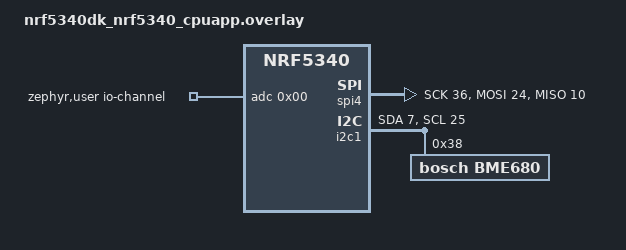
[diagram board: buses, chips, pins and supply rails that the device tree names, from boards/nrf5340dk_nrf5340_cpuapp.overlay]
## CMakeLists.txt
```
cmake_minimum_required(VERSION 3.13.1)

set(CONF_FILE prj.conf)

find_package(Zephyr REQUIRED HINTS $ENV{ZEPHYR_BASE})
project(hito_firmware_zephyr)

# Directory variables
set(RUST_FIRMWARE_DIR ${CMAKE_CURRENT_SOURCE_DIR}/rust-firmware)
set(RUST_SOURCE_DIR ${RUST_FIRMWARE_DIR}/src)
set(ZEPHYR_DRIVERS_DIR ${RUST_SOURCE_DIR}/drivers/zephyr/zephyr_drivers)

# Build configuration variables
set(RUST_TARGET thumbv7em-none-eabi)
set(RUST_BUILD_TYPE release)
set(RUST_TARGET_DIR ${RUST_FIRMWARE_DIR}/target/${RUST_TARGET}/${RUST_BUILD_TYPE})
set(RUST_LIB_NAME libhito_firmware_rust.a)
set(RUST_LIB_PATH ${RUST_TARGET_DIR}/${RUST_LIB_NAME})

# Build features and flags
set(RUST_FEATURES zephyr)
set(RUST_BUILD_FLAGS --target ${RUST_TARGET} --${RUST_BUILD_TYPE} --no-default-features --features ${RUST_FEATURES})

# Glob all Rust source files to track dependencies
file(GLOB_RECURSE RUST_SOURCES 
    "${RUST_SOURCE_DIR}/*.rs"
    "${RUST_SOURCE_DIR}/vault/*.rs"
    "${RUST_SOURCE_DIR}/vault/vault.c"
    "${RUST_SOURCE_DIR}/vault/hito_firmware_version.h"
    "${RUST_FIRMWARE_DIR}/build.rs"
    "${RUST_FIRMWARE_DIR}/Cargo.toml"
    "${RUST_SOURCE_DIR}/ui/*.slint"
)

# Custom command to build Rust library when source files change
add_custom_command(
    OUTPUT ${RUST_LIB_PATH}
    COMMAND cargo build ${RUST_BUILD_FLAGS}
    WORKING_DIRECTORY ${RUST_FIRMWARE_DIR}
    DEPENDS ${RUST_SOURCES}
    COMMENT "Building Rust library for ${RUST_TARGET}"
    VERBATIM
)

# Custom target to ensure Rust library is built
add_custom_target(build_rust_lib DEPENDS ${RUST_LIB_PATH})

# Import the built Rust static library
add_library(hito_firmware_rust STATIC IMPORTED)
set_target_properties(hito_firmware_rust PROPERTIES 
    IMPORTED_LOCATION ${RUST_LIB_PATH})

# Make sure the Rust library is built before the imported library is used
add_dependencies(hito_firmware_rust build_rust_lib)

# C driver source files
set(DRIVER_SOURCES
  ${ZEPHYR_DRIVERS_DIR}/ili9342_lcd.c
  ${ZEPHYR_DRIVERS_DIR}/ft6336_ctp.c
  ${ZEPHYR_DRIVERS_DIR}/hito_pin_config.c
  ${ZEPHYR_DRIVERS_DIR}/timer.c
  ${ZEPHYR_DRIVERS_DIR}/hito_battery.c
  ${ZEPHYR_DRIVERS_DIR}/hito_nfc.c
  ${ZEPHYR_DRIVERS_DIR}/hito_ble.c
  ${ZEPHYR_DRIVERS_DIR}/hito_power.c
)

# Main application sources
set(SOURCE_FILES
  src/main.c
  ${DRIVER_SOURCES}
)

# Add libcrypt0 and related C sources
set(LIBCRYPT0_DIR ${RUST_SOURCE_DIR}/crypto/libcrypt0)
set(LIBCRYPT0_SOURCES
  ${LIBCRYPT0_DIR}/src/crypt0.c
  ${LIBCRYPT0_DIR}/src/crypt0_aes_ccm.c
  ${LIBCRYPT0_DIR}/src/crypt0_bech32.c
  ${LIBCRYPT0_DIR}/src/crypt0_bip32.c
  ${LIBCRYPT0_DIR}/src/crypt0_bip39.c
  ${LIBCRYPT0_DIR}/src/crypt0_crc.c
  ${LIBCRYPT0_DIR}/src/crypt0_ed25519.c
  ${LIBCRYPT0_DIR}/src/crypt0_hmac.c
  ${LIBCRYPT0_DIR}/src/crypt0_hw_keys.c
  ${LIBCRYPT0_DIR}/src/crypt0_key.c
  ${LIBCRYPT0_DIR}/src/crypt0_log.c
  ${LIBCRYPT0_DIR}/src/crypt0_pbkdf2.c
  ${LIBCRYPT0_DIR}/src/crypt0_ripemd160.c
  ${LIBCRYPT0_DIR}/src/crypt0_rlp.c
  ${LIBCRYPT0_DIR}/src/crypt0_rng.c
  ${LIBCRYPT0_DIR}/src/hito_rand.c
  ${LIBCRYPT0_DIR}/lib/SHA3IUF/sha3.c
  ${LIBCRYPT0_DIR}/src/crypt0_secp256k1.c
  ${LIBCRYPT0_DIR}/src/crypt0_sha.c
  ${LIBCRYPT0_DIR}/src/intc_impl.c
  ${RUST_SOURCE_DIR}/crypto/crc16_ccitt/crc16_ccitt.c
  ${RUST_SOURCE_DIR}/vault/vault.c
)

# Include directories for the C drivers and crypto libs
target_include_directories(app PRIVATE 
  ${ZEPHYR_DRIVERS_DIR}
  ${LIBCRYPT0_DIR}/include
  ${LIBCRYPT0_DIR}/lib/secp256k1/src
  ${LIBCRYPT0_DIR}/lib/secp256k1/include
  ${LIBCRYPT0_DIR}/lib/ripemd160
  ${LIBCRYPT0_DIR}/lib/SHA3IUF
  ${LIBCRYPT0_DIR}/lib/base58
  ${LIBCRYPT0_DIR}/lib/bech32
  ${LIBCRYPT0_DIR}/lib/intc
  ${RUST_SOURCE_DIR}/crypto/crc16_ccitt
)

target_sources(app PRIVATE ${SOURCE_FILES} ${LIBCRYPT0_SOURCES})
target_link_libraries(app PUBLIC hito_firmware_rust)

target_compile_options(app PRIVATE -Os -ffunction-sections -fdata-sections)
target_link_options(app PRIVATE -Wl,--gc-sections)
```

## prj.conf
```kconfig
CONFIG_GPIO=y
CONFIG_FLASH_BASE_ADDRESS=0x30200
CONFIG_FLASH_LOAD_OFFSET=0x00

# # disable log
# CONFIG_LOG=n
# CONFIG_PRINTK=n
# CONFIG_BOOT_BANNER=n

# enable log
CONFIG_LOG=y
CONFIG_LOG_DEFAULT_LEVEL=4
CONFIG_LOG_MODE_IMMEDIATE=y
CONFIG_PRINTK=y
CONFIG_BOOT_BANNER=y

CONFIG_ADC=y   # battery level

CONFIG_WATCHDOG=y
CONFIG_WDT_DISABLE_AT_BOOT=y

CONFIG_MINIMAL_LIBC_MALLOC_ARENA_SIZE=16384

CONFIG_ENTROPY_GENERATOR=y
#CONFIG_ENTROPY_DEVICE_RANDOM_GENERATOR=y
#CONFIG_ENTROPY_CC3XX=y

#CONFIG_NRF_SECURITY=y
#CONFIG_MBEDTLS=y
#CONFIG_MBEDTLS_BUILTIN=y
#CONFIG_TFM_MINIMAL=y
#CONFIG_MBEDTLS_PSA_CRYPTO_C=y
#CONFIG_MBEDTLS_SHA512_C=y
#CONFIG_MBEDTLS_ENABLE_HEAP=y
#CONFIG_MBEDTLS_HEAP_SIZE=8192
#CONFIG_MBEDTLS_MAC_SHA512_ENABLED=y
#CONFIG_MBEDTLS_MAC_ALL_ENABLED=y

#CONFIG_OBERON_BACKEND=n
#CONFIG_MBEDTLS_LEGACY_CRYPTO_C=n

#CONFIG_PSA_CRYPTO_DRIVER_OBERON=y
#CONFIG_PSA_CRYPTO_DRIVER_CC3XX=y

#CONFIG_MBEDTLS_VANILLA_BACKEND=y
#CONFIG_NORDIC_SECURITY_BACKEND=n
#CONFIG_CC310_BACKEND=y

#CONFIG_MBEDTLS_LIBRARY_NRF_SECURITY=y
# Mbed TLS
#CONFIG_NORDIC_SECURITY_BACKEND=y
#CONFIG_NRF_SECURITY=y
#CONFIG_MBEDTLS=y
#CONFIG_NRF_SECURITY=y
#CONFIG_MBEDTLS_BUILTIN=y
#CONFIG_MBEDTLS_ENABLE_HEAP=y
#CONFIG_MBEDTLS_HEAP_SIZE=8096
#CONFIG_MBEDTLS_PSA_CRYPTO_C=y
#CONFIG_MBEDTLS_LIBRARY_NRF_SECURITY=y
#CONFIG_CC3XX_BACKEND=y
#CONFIG_NORDIC_SECURITY_BACKEND=y
#CONFIG_OBERON_BACKEND=y
#CONFIG_MBEDTLS_LEGACY_CRYPTO_C=y
#CONFIG_PSA_CRYPTO_DRIVER_CC3XX=y
#CONFIG_NORDIC_SECURITY_BACKEND=y
#CONFIG_CC3XX_BACKEND=y
#CONFIG_MBEDTLS_LIBRARY_NRF_SECURITY=y
#CONFIG_PSA_CRYPTO_DRIVER_CC3XX=y
#CONFIG_PSA_CRYPTO_DRIVER_OBERON=y
#CONFIG_MBEDTLS_USER_CONFIG_ENABLE=y
#CONFIG_MBEDTLS_USER_CONFIG_FILE="user-tls.conf"
#CONFIG_NRF_CC3XX_PLATFORM=y
#CONFIG_PSA_CRYPTO_DRIVER_CC3XX=y
#CONFIG_HW_CC3XX=y
#CONFIG_NRF_SECURITY=y
#CONFIG_MBEDTLS_PSA_CRYPTO_C=y

#CONFIG_MAIN_STACK_SIZE=8192
CONFIG_MAIN_STACK_SIZE=32768
CONFIG_HEAP_MEM_POOL_SIZE=81920

CONFIG_BT=y
CONFIG_BT_DEBUG_LOG=n
CONFIG_BT_PERIPHERAL=y
CONFIG_BT_DEVICE_NAME="Hito"
CONFIG_BT_GATT_CLIENT=y
CONFIG_BT_HCI_ACL_FLOW_CONTROL=y
CONFIG_BT_RPMSG=y

CONFIG_BT_L2CAP_TX_MTU=514
CONFIG_BT_BUF_ACL_RX_SIZE=514

CONFIG_BT_THROUGHPUT=n
CONFIG_BT_USER_PHY_UPDATE=y
#CONFIG_BT_CTLR_PHY_2M=y
CONFIG_BT_USER_DATA_LEN_UPDATE=y

#CONFIG_PSA_CRYPTO_DRIVER_OBERON=n

# Enable nordic security backend and PSA APIs
CONFIG_NRF_SECURITY=y
CONFIG_MBEDTLS_PSA_CRYPTO_C=y

# Enable persistent storage APIs
#CONFIG_MBEDTLS_PSA_CRYPTO_STORAGE_C=y
#CONFIG_PSA_NATIVE_ITS=y

CONFIG_MBEDTLS_ENABLE_HEAP=y
CONFIG_MBEDTLS_HEAP_SIZE=8192
CONFIG_PSA_CRYPTO_DRIVER_OBERON=y
CONFIG_PSA_CRYPTO_DRIVER_CC3XX=y


CONFIG_FLASH=y
CONFIG_FLASH_PAGE_LAYOUT=y
#CONFIG_FLASH_MAP=y
#CONFIG_NVS=y
#CONFIG_SETTINGS=y
#CONFIG_NVS_LOG_LEVEL_ERR=y

CONFIG_HW_UNIQUE_KEY=y
CONFIG_HW_UNIQUE_KEY_RANDOM=y
CONFIG_NORDIC_SECURITY_BACKEND=n
CONFIG_CC3XX_BACKEND=n
CONFIG_MPU_ALLOW_FLASH_WRITE=y
CONFIG_PM_SINGLE_IMAGE=n
CONFIG_PM_PARTITION_SIZE_SETTINGS_STORAGE=0x1000
#CONFIG_MPU_ALLOW_FLASH_WRITE=y

CONFIG_PM=y
CONFIG_PM_DEVICE=y

# NFC
CONFIG_NFC_T4T_NRFXLIB=y
#CONFIG_NFC_T4T_APDU=y

CONFIG_NFC_NDEF=y
CONFIG_NFC_NDEF_MSG=y
CONFIG_NFC_NDEF_RECORD=y
CONFIG_NFC_NDEF_URI_REC=y
CONFIG_NFC_NDEF_URI_MSG=y
CONFIG_NDEF_FILE_SIZE=4096

# SPIM
CONFIG_SPI=y
CONFIG_I2C=y

CONFIG_PWM=y

CONFIG_LED=y
CONFIG_LED_PWM=y
```

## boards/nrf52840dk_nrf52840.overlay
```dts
/ {
	aliases {
		hito-lcd = &spi3;
    hito-ctp = &i2c0;
	};

  zephyr,user {
    
    lcd-dcx-pin   = <30>; // P0.30
    lcd-reset-pin = <31>; // P0.31
    lcd-power-pin = <22>; // P0.22
    lcd-led-pin   = <29>; // P0.29
    lcd-cs-pin    = <17>; // P0.17

    ctp-power-pin     = <33>; // P1.01
    ctp-int-pin       = <24>; // P0.24
    ctp-reset-pin     = <23>; // P0.23

    nand-cs-pin       = <41>; // P1.09
    nand-miso-pin     = <26>; // P0.26
    nand-hold-pin     = <12>; // P0.12

    led-red-pin       = <13>; // P0.13, LED1 on nRF DK
    led-green-pin     = <14>; // P0.14, LED2 on nRF DK
    led-blue-pin      = <15>; // P0.15, LED3 on nRF DK

    led-debug-pin     = <16>; // P0.16, LED4 on nRF DK
    devboard-pin      = <3>;  // P0.03, connected to VDD on nRF DK

    charge-pin        = <25>; // P0.25, Button4 on nRF DK
    
    button-pin        = <11>; // P0.11, Button1 on nRF DK

    watchdog-sec      = <90>;

  };

};

&spi3 {
  compatible = "nordic,nrf-spim";
  status = "okay";
  sck-pin = <28>;
  mosi-pin = <04>;
  miso-pin = <26>;
  //dcx-pin = <30>;
  cs-gpios = <&gpio0 03 GPIO_ACTIVE_LOW>;
};

&i2c0 {
  sda-pin = < 32 >;
  scl-pin = < 25 >;
  bme680@38 {
		compatible = "bosch,bme680";
		label      = "BME680";
    reg        = <0x38>;
  };
};


&spi1 {
  status = "disabled";
};

&spi2 {
  status = "disabled";
};

&spi0 {
  status = "disabled";
};

//&i2c1 {
  //status = "disabled";
//};

&uart1 {
  status = "disabled";
};

&button2 {
  status = "disabled";
};

&qspi {
  status = "disabled";
};
```

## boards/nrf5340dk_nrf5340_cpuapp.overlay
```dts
/ {
	aliases {
		hito-lcd = &spi4;
    hito-ctp = &i2c1;
	};

  zephyr,user {

    io-channels = <&adc 0x00>;
    
    // Dev board
    lcd-dcx-pin   = <0x28>; // P1.08
    lcd-reset-pin = <21>; // P0.21
    lcd-power-pin = <0x26>; // P1.06
    lcd-led-pin   = <16>; // P0.16
    lcd-cs-pin    = <19>; // P0.19

    ctp-power-pin     = <0x2A>; // P1.10
    ctp-int-pin       = <27>;   // P0.27
    ctp-reset-pin     = <26>;   // P0.26

    nand-cs-pin       = <41>; // P1.09
    nand-miso-pin     = <10>; // P0.10
    nand-hold-pin     = <12>; // P0.12

    led-red-pin       = <28>; // P0.28, LED1 on nRF DK
    led-green-pin     = <29>; // P0.29, LED2 on nRF DK
    led-blue-pin      = <30>; // P0.30, LED3 on nRF DK

    led-debug-pin     = <31>; // P0.31, LED4 on nRF DK
    devboard-pin      = <3>;  // P0.03, connected to VDD on nRF DK

    charge-pin        = <9>; // P0.09, Button4 on nRF DK
    
    button-pin        = <23>; // P0.23, Button1 on nRF DK

    watchdog-sec      = <30>;
    dev-board         = <1>;

    
    /*
    // Device
    lcd-dcx-pin   = <0x28>; // P1.08
    lcd-reset-pin = <21>; // P0.21 n.c.
    lcd-power-pin = <0x26>; // P1.06
    lcd-led-pin   = <16>; // P0.16
    lcd-cs-pin    = <19>; // P0.19

    ctp-power-pin     = <0x2A>; // P1.10
    ctp-int-pin       = <27>;   // P0.27
    ctp-reset-pin     = <26>;   // P0.26

    nand-cs-pin       = <0x22>; // P1.02
    nand-miso-pin     = <10>; // P0.10
    nand-hold-pin     = <9>; // P0.09

    led-red-pin       = <4>; // P0.04
    led-blue-pin      = <5>; // P0.05
    led-green-pin     = <6>; // P0.06

    led-debug-pin     = <13>; // P0.13
    devboard-pin      = <3>;  // P0.03, connected to VDD on nRF DK

    charge-pin        = <13>; // P0.13
    
    button-pin        = <8>; // P0.08

    watchdog-sec      = <180>;
    dev-board         = <0>;

    */
  };

  pwmleds {
    pwm_led0: pwm_led_0 {
      pwms = < &pwm0 0x10 >;
    };
  };

};

// reduce memory by 2kb for app settings and ram vault
&sram0_image {
  reg = < 0x20000000 0x6f800 >;
};


&pwm0 {
  ch0-pin = < 0x10 >;
  //ch0-inverted;
};

&spi4 {
  compatible = "nordic,nrf-spim";
  status = "okay";
  sck-pin = <0x24>; // P1.04
  mosi-pin = <24>;  // P0.24
  miso-pin = <10>;  // P0.10 ??
  //dcx-pin = <30>;
  cs-gpios = <&gpio0 19 GPIO_ACTIVE_LOW>;
};

&i2c1 {
  sda-pin = < 7 >;  // dev board
  scl-pin = < 25 >; // dev board
  
  //sda-pin = < 29 >; // device
  //scl-pin = < 28 >; // device
  
  bme680@38 {
		compatible = "bosch,bme680";
		label = "BME680";
        reg = <0x38>;
  };
};

&qspi {
  status = "disabled";
};
&spi1 {
  status = "disabled";
};
&spi2 {
  status = "disabled";
};
&spi3 {
  status = "disabled";
};

&button1 {
  status = "disabled";
};
&i2c0 {
  status = "disabled";
};
```

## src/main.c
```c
// Forward declarations for Rust functions
extern void rust_main();
extern void rust_hello();

void main(void) {
    // Call the unified Rust main function
    rust_main();
}
```
